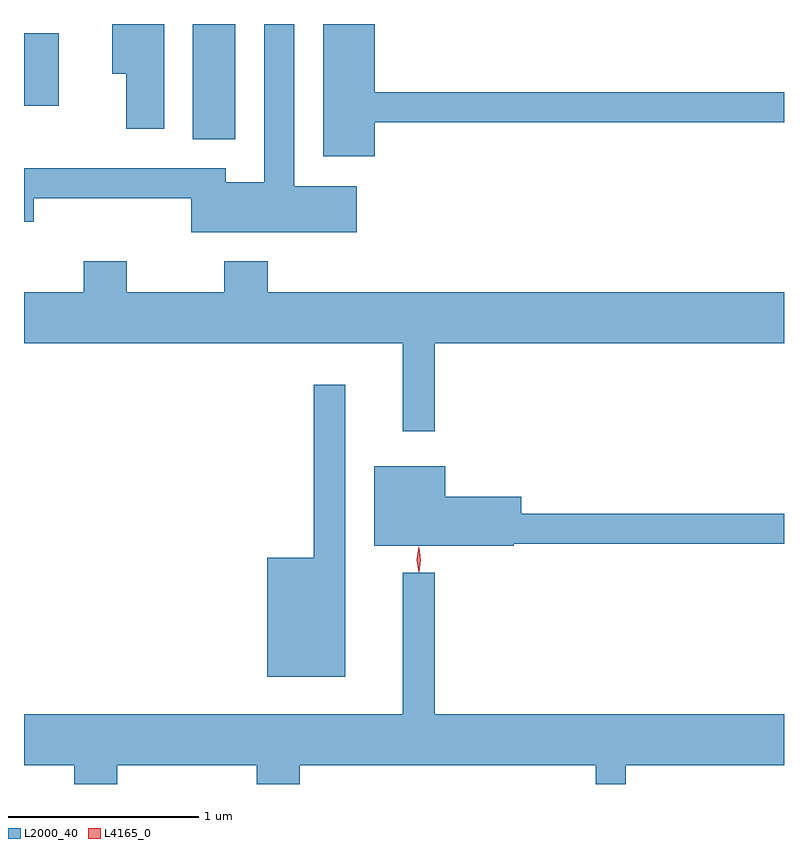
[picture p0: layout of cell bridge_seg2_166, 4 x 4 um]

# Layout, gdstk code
import gdstk
lib = gdstk.Library(unit=1e-6, precision=1e-09)
def R(c, l, rs):  # rectangles x0, y0, x1, y1
    for r in rs: c.add(gdstk.rectangle(r[:2], r[2:], *l))
def P(c, l, *ps):  # polygons
    for p in ps: c.add(gdstk.Polygon(p, *l))
L2000_40 = (2000, 40)
L4165_0 = (4165, 0)

bridge_seg2_166 = lib.new_cell('bridge_seg2_166')
R(bridge_seg2_166, L2000_40, [(811.346,1007.211,811.569,1007.817), (810.457,1007.386,810.639,1007.769)])
P(bridge_seg2_166, L2000_40, [(812.304,1007.301),(814.457,1007.301),(814.457,1007.459),(812.304,1007.459),(812.304,1007.817),(812.031,1007.817),(812.031,1007.121),(812.304,1007.121)],
  [(812.209,1006.964),(811.879,1006.964),(811.879,1007.817),(811.721,1007.817),(811.721,1006.984),(811.519,1006.984),(811.519,1007.059),(810.457,1007.059),(810.457,1006.776),(810.509,1006.776),(810.509,1006.901),(811.336,1006.901),(811.336,1006.721),(812.209,1006.721)],
  [(811.194,1007.817),(810.921,1007.817),(810.921,1007.556),(810.996,1007.556),(810.996,1007.266),(811.194,1007.266)],
  [(812.619,1006.136),(814.457,1006.136),(814.457,1006.404),(811.739,1006.404),(811.739,1006.569),(811.511,1006.569),(811.511,1006.404),(810.999,1006.404),(810.999,1006.569),(810.771,1006.569),(810.771,1006.404),(810.457,1006.404),(810.457,1006.136),(812.451,1006.136),(812.451,1005.673),(812.619,1005.673)],
  [(812.149,1005.918),(811.981,1005.918),(811.981,1005.009),(811.736,1005.009),(811.736,1004.381),(812.149,1004.381)],
  [(813.035,1005.081),(814.457,1005.081),(814.457,1005.239),(813.074,1005.239),(813.074,1005.329),(812.674,1005.329),(812.674,1005.489),(812.301,1005.489),(812.301,1005.071),(813.035,1005.071)],
  [(810.949,1003.916),(811.681,1003.916),(811.681,1003.817),(811.909,1003.817),(811.909,1003.916),(813.466,1003.916),(813.466,1003.817),(813.624,1003.817),(813.624,1003.916),(814.457,1003.916),(814.457,1004.184),(812.619,1004.184),(812.619,1004.928),(812.451,1004.928),(812.451,1004.184),(810.457,1004.184),(810.457,1003.916),(810.721,1003.916),(810.721,1003.817),(810.949,1003.817)])
P(bridge_seg2_166, L4165_0, [(812.535,1004.934),(812.535,1004.934),(812.526,1004.997),(812.537,1005.059),(812.537,1005.06),(812.538,1005.059),(812.546,1004.997),(812.536,1004.934)],
  [(812.534,1004.931),(812.525,1004.998),(812.534,1005.065),(812.534,1005.066),(812.535,1005.065),(812.545,1004.998),(812.536,1004.931),(812.535,1004.931)])

lib.write_gds('bridge_seg2_166.gds')
